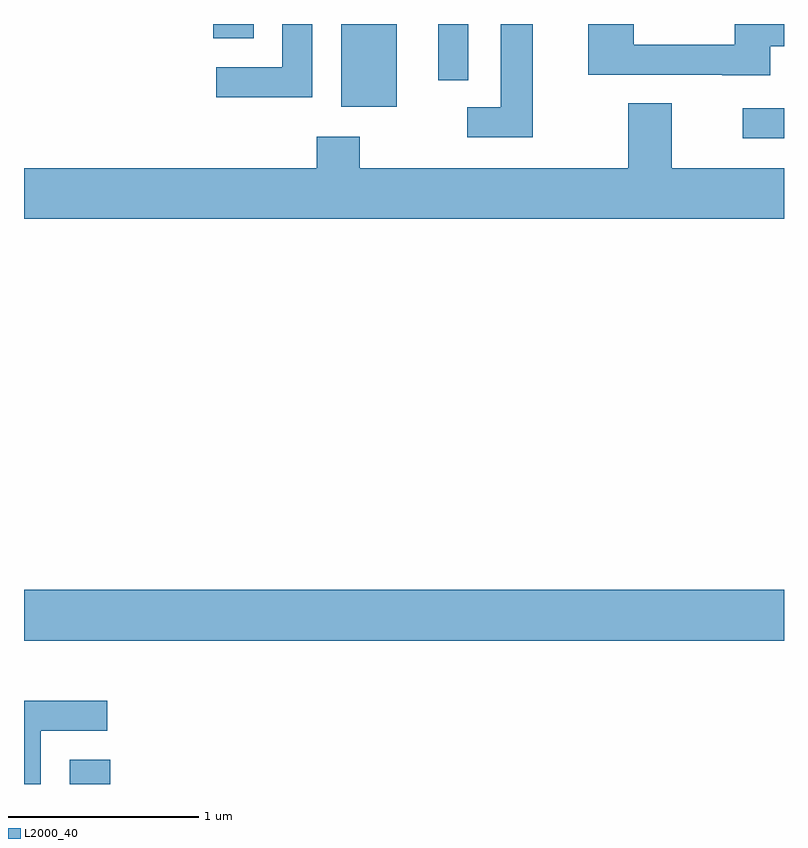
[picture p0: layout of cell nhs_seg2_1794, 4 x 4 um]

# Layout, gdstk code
import gdstk
lib = gdstk.Library(unit=1e-6, precision=1e-09)
def R(c, l, rs):  # rectangles x0, y0, x1, y1
    for r in rs: c.add(gdstk.rectangle(r[:2], r[2:], *l))
def P(c, l, *ps):  # polygons
    for p in ps: c.add(gdstk.Polygon(p, *l))
L2000_40 = (2000, 40)

nhs_seg2_1794 = lib.new_cell('nhs_seg2_1794')
R(nhs_seg2_1794, L2000_40, [(237.851,1029.802,238.064,1029.929), (237.611,1030.556,241.611,1030.824), (241.393,1033.201,241.611,1033.359), (239.281,1033.366,239.574,1033.802), (239.791,1033.507,239.949,1033.802), (238.606,1033.726,238.819,1033.802)])
P(nhs_seg2_1794, L2000_40, [(239.129,1033.802),(238.971,1033.802),(238.971,1033.574),(238.623,1033.574),(238.623,1033.416),(239.129,1033.416)],
  [(240.289,1033.802),(240.121,1033.802),(240.121,1033.364),(239.943,1033.364),(239.943,1033.206),(240.289,1033.206)],
  [(241.539,1033.686),(241.611,1033.686),(241.611,1033.802),(241.351,1033.802),(241.351,1033.694),(240.819,1033.694),(240.819,1033.802),(240.581,1033.802),(240.581,1033.536),(241.285,1033.536),(241.285,1033.531),(241.539,1033.531)],
  [(241.611,1033.044),(241.019,1033.044),(241.019,1033.384),(240.791,1033.384),(240.791,1033.044),(239.379,1033.044),(239.379,1033.209),(239.151,1033.209),(239.151,1033.044),(237.611,1033.044),(237.611,1032.776),(241.611,1032.776)],
  [(237.699,1030.081),(238.048,1030.081),(238.048,1030.239),(237.611,1030.239),(237.611,1029.802),(237.699,1029.802)])

lib.write_gds('nhs_seg2_1794.gds')
